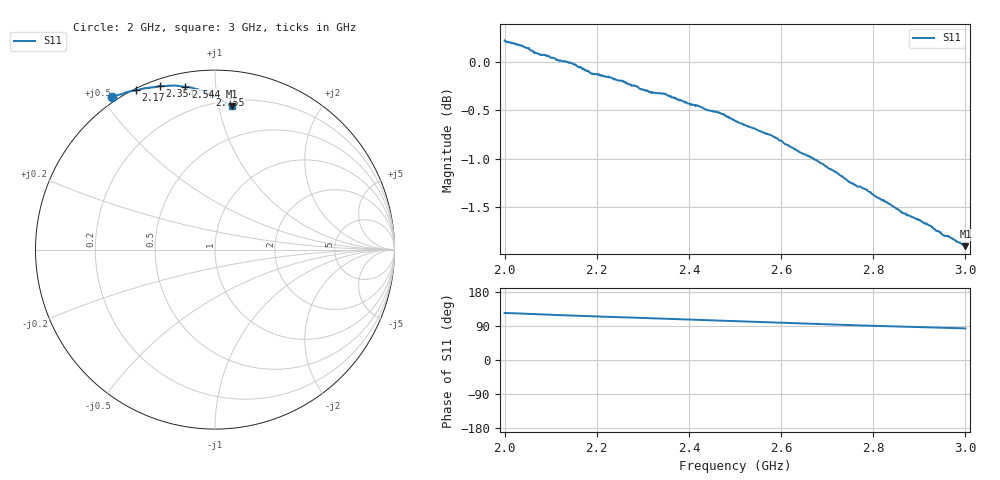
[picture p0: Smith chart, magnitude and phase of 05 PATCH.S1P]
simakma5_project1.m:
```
close all; clear; clc; addpath(genpath(fullfile([pwd, '\Uni', '\grad', '\NKA', '\project1', '\script'])))
%% Initialization
close all; clear; clc; addpath(genpath(fullfile(pwd, 'Uni', 'grad', 'NKA', 'project1', 'script')));
s = settings;
s.matlab.appearance.figure.GraphicsTheme.TemporaryValue = "light";
% universal constants
c = 299792458;
mu0 = 4*pi*1e-7;
% reference impedance
Z0 = 50;

%% 1 Patch antenna TLM (Transmission Line Model) design
% resonant frequency
f_r = 1.8e9;
lambda0 = c/f_r;
k0 = 2*pi/lambda0;
% copper cladding
t = 35e-6;
sigma = 5.6e7;
% substrate DICLAD
h = 1.5e-3;
epsR = 2.6;
tand = 0.0022;
% computational parameters
fSpan = 1e9;                                    % frequency plots span
Nfpoints = 5e3+1;                               % number of freq. points
f = linspace(f_r-fSpan/2, f_r+fSpan/2, Nfpoints);
NLpoints = 5e3;                                 % number of length points

%% 1.1 Antenna dimensions
W = c/(2*f_r)*sqrt(2/(epsR+1));
epsR_eff = (epsR+1)/2+(epsR-1)/2*(1+12*h/W)^(-1/2);
deltaL = 0.412*h*(((epsR_eff+0.3)*(W/h+0.264))/((epsR_eff-0.258)*(W/h+0.813)));
L_eff = c/(2*f_r*sqrt(epsR_eff));
L = L_eff-2*deltaL;
fprintf('1.1 Antenna dimensions\n----\n')
fprintf('f_r = %.2f GHz\n', f_r*1e-9)
fprintf('W(f=f_r) = %.2f mm\n', W*1e3)
fprintf('L(f=f_r) = %.2f mm\n', L*1e3)

%% 1.2 Input impedance and reflection coefficient frequency dependence
% input impedance and reflection coefficient frequency plot for feed offset of 0 mm
Z_in = impedanceTLM(epsR, h, W, L, 0, f);
figure('Name', 'Edge-fed antenna (zero feed offset) input impedance and reflection coefficient', 'Units', 'normalized', 'Position', [0, 0, 1, 1])
tiledlayout(1,2)
nexttile;
    plot(f*1e-9, real(Z_in))
    hold on
    plot(f*1e-9, imag(Z_in))
    xline(f_r*1e-9, '-.')
    line = yline(Z0, '--', num2str(Z0));
    line.LabelVerticalAlignment = 'bottom';
    hold off
    grid on
    grid minor
    xlim([f(1)*1e-9, f(end)*1e-9])
    xlabel('Frequency [GHz]')
    ylabel('Z_{in} [\Omega]')
    legend('R_{in}', 'X_{in}')
nexttile;
    plot(f*1e-9, 20*log10(abs((Z0-Z_in)./(Z0+Z_in))))
    hold on
    xline(f_r*1e-9, '-.')
    hold off
    grid on
    grid minor
    xlim([f(1)*1e-9, f(end)*1e-9])
    ylim([-30, 0])
    xlabel('Frequency [GHz]')
    ylabel('|\Gamma| [dB]')
set(findall(gcf, '-property', 'FontSize'), 'FontSize', 26)
saveas(gcf, fullfile([pwd, '\Uni', '\grad', '\NKA', '\project1', '\report', '\src', '\edge-fed-antenna']), 'epsc')

%% 1.3 Feed-offset antenna matching
% input impedance for L1 == 0 mm && f == f_r
fprintf('\n1.3 Feed-offset antenna matching\n----\n')
fprintf('Z_in(L1=0,f=f_r) = %.2f%+.2fi Ohm\n', real(Z_in(f==f_r)), imag(Z_in(f==f_r)))

% input impedance and reflection coefficient feed-offset plot for f == f_r
L1 = linspace(0, L, NLpoints);
Z_in = impedanceTLM(epsR, h, W, L, L1, f_r);
figure('Name', 'Input impedance at resonance of an offset-fed antenna', 'Units', 'normalized', 'Position', [0, 0, 1, 1])
plot(L1/L, real(Z_in))
hold on
plot(L1/L, imag(Z_in))
line = yline(Z0, '--', num2str(Z0));
line.LabelVerticalAlignment = 'bottom';
hold off
grid on
grid minor
xlabel('L_1/L [-]')
ylabel('Z_{in} [\Omega]')
legend('R_{in}', 'X_{in}', 'location', 'best')
set(findall(gcf, '-property', 'FontSize'), 'FontSize', 26)
saveas(gcf, fullfile([pwd, '\Uni', '\grad', '\NKA', '\project1', '\report', '\src', '\feed-offset-impedance-plot']), 'epsc')

% find L for which R_in is approx. 50 Ohm at f == f_r
[R_match, L1_matchIdx] = min(abs(real(Z_in)-Z0));
R_match = R_match + Z0;
disp(['L_match = ' num2str(round(L1(L1_matchIdx)*1e3, 2)) ' mm'])
disp(['R_match = ' num2str(round(R_match, 2)) ' Ohm'])

% input impedance and reflection coefficient frequency plot for feed offset of 0 mm
Z_in = impedanceTLM(epsR, h, W, L, L1(L1_matchIdx), f);
fprintf('Z_in(L1=L_match,f=f_r) = %.2f%+.2fi Ohm\n', real(Z_in(f==f_r)), imag(Z_in(f==f_r)))
figure('Name', 'Matched antenna input impedance and reflection coefficient', 'Units', 'normalized', 'Position', [0, 0, 1, 1])
tiledlayout(1,2)
nexttile;
    plot(f*1e-9, real(Z_in))
    hold on
    plot(f*1e-9, imag(Z_in))
    xline(f_r*1e-9, '-.')
    line = yline(Z0, '--', num2str(Z0));
    line.LabelVerticalAlignment = 'bottom';
    hold off
    grid on
    grid minor
    xlim([f(1)*1e-9, f(end)*1e-9])
    xlabel('Frequency [GHz]')
    ylabel('Z_{in} [\Omega]')
    legend('R_{in}', 'X_{in}')
nexttile;
    plot(f*1e-9, 20*log10(abs((Z0-Z_in)./(Z0+Z_in))))
    hold on
    xline(f_r*1e-9, '-.')
    hold off
    grid on
    grid minor
    xlim([f(1)*1e-9, f(end)*1e-9])
    ylim([-30, 0])
    xlabel('Frequency [GHz]')
    ylabel('|\Gamma| [dB]')
set(findall(gcf, '-property', 'FontSize'), 'FontSize', 26)
saveas(gcf, fullfile([pwd, '\Uni', '\grad', '\NKA', '\project1', '\report', '\src', '\matched-antenna']), 'epsc')

%% 1.4 Antenna bandwidth of VSWR < 2
% Q-factor defined as the ratio of energy accumulated in cavity over
% energy lost in materials
Q_d = 1/tand;                                   % dielectric
Q_c = sqrt(pi*f_r*mu0*sigma*t);                 % conductor
Q_r = c*sqrt(epsR)/(4*f_r*h);                   % radiation
Q_t = 1/(1/Q_d+1/Q_c+1/Q_r);                    % total

% analytical formula for bandwidth of VSWR < 2
% BW = (VSWR-1)/(Q_t*sqrt(VSWR))
BW_analytic = 1/(Q_t*sqrt(2))*100;
fprintf('\n1.4 Antenna bandwidth of VSWR < 2\n----\n')
fprintf('Analytically: BW(VSWR<2) = %.2f %%\n', BW_analytic)

% determine BW(VSWR<2) (|Gamma(VSWR=2)| = -9.54 dB) from computed Gamma
[~, fIdx] = min(abs(20*log10(abs((Z0-Z_in./(Z0+Z_in))))+9.54));
BW_numeric = abs(f_r-f(fIdx))/(f_r+f(fIdx))*100;
fprintf('Numerically:  BW(VSWR<2) = %.2f %%\n', BW_numeric)

%% 1.5 Analytical BW of VSWR < 2 for different substrates
hRange = 0.5e-3:0.1e-3:5e-3;
epsRRange = 1:0.1:10;
Q_d = 1/tand;
Q_c = sqrt(pi*f_r*mu0*sigma*t);
Q_r = zeros(length(epsRRange), length(hRange));
for i = 1:length(epsRRange)
    Q_r(i,:) = c*sqrt(epsRRange(i))./(4*f_r*hRange(:));
end
Q_t = 1./(1/Q_d+1/Q_c+1./Q_r);
BW_analytic = 1./(Q_t*sqrt(2))*100;

figure('Name', 'Antenna bandwidth of VSWR < 2', 'Units', 'normalized', 'Position', [0, 0, 1, 1])
tiledlayout(1,2)
nexttile;
    plot(hRange*1e3, BW_analytic(epsRRange==epsR,:))
    hold on
    line = xline(h*1e3, '--', 'h');
    line.LabelVerticalAlignment = 'bottom';
    hold off
    grid on
    grid minor
    axis tight
    xlabel('h [mm]')
    ylabel('BW(VSWR<2) [%]')
    title(['epsR = ' num2str(epsR)])
nexttile;
    plot(epsRRange, BW_analytic(:,hRange==h))
    hold on
    line = xline(epsR, '--', 'epsR');
    line.LabelVerticalAlignment = 'bottom';
    hold off
    grid on
    grid minor
    axis tight
    xlabel('epsR [-]')
    ylabel('BW(VSWR<2) [%]')
    title(['h = ' num2str(h*1e3) ' mm'])
set(findall(gcf, '-property', 'FontSize'), 'FontSize', 26)
saveas(gcf, fullfile([pwd, '\Uni', '\grad', '\NKA', '\project1', '\report', '\src', '\bandwidth-material-dependence']), 'epsc')

%% 1.6 Antenna field patterns
theta = linspace(-pi/2, pi/2, 180);
F_E = sin(k0*h/2.*cos(theta))./(k0*h/2.*cos(theta)).*cos(k0*L_eff/2.*sin(theta));
F_H = cos(theta).*sin(k0*h/2.*cos(theta))./(k0*h/2.*cos(theta)).*sin(k0*W/2.*sin(theta))./(k0*W/2.*sin(theta));

figure('Name', 'Normalized field patterns', 'Units', 'normalized', 'Position', [0, 0, 1, 1])
tiles = tiledlayout(1,2);
    pax = polaraxes(tiles);
    pax.RLim = [-40, 0];
    pax.ThetaLim = [-90, 90];
    pax.ThetaDir = 'clockwise';
    pax.ThetaZeroLocation = 'top';
    pax.RTickLabels = {'-40 dB', '-30 dB','-20 dB','-10 dB','0 dB'};
    pax.Layout.Tile = 1;
    hold on
    polarplot(theta, 10*log10(F_E)/max(F_E))
    hold off
    title('E-plane (azimuthal)')

    pax = polaraxes(tiles);
    pax.RLim = [-40, 0];
    pax.ThetaLim = [-90, 90];
    pax.ThetaDir = 'clockwise';
    pax.ThetaZeroLocation = 'top';
    pax.RTickLabels = {'-40 dB', '-30 dB','-20 dB','-10 dB','0 dB'};
    pax.Layout.Tile = 2;
    hold on
    polarplot(theta, 10*log10(F_H)/max(F_H))
    hold off
    title('H-plane (elevation)')
set(findall(gcf, '-property', 'FontSize'), 'FontSize', 26)
saveas(gcf, fullfile([pwd, '\Uni', '\grad', '\NKA', '\project1', '\report', '\src', '\field-patterns']), 'epsc')

%% 2 Patch antenna measurement
% measurement parameters
f_meas = sparameters(fullfile('data', '01 PATCH.S1P')).Frequencies;
lambda0_meas = c./f_meas;
epsR_meas = 1;
tand = 0;

% measured antenna dimensions
h_meas = 5e-3;
L_meas = 58e-3;
W_meas = 61e-3;

%% Measured vs TLM input impedance and reflection coefficient
% measurement #1
L1_meas = 4e-3;
Gamma_meas = squeeze(sparameters(fullfile('data', '01 PATCH.S1P')).Parameters(1,1,:));
Z_meas = Z0*(1+Gamma_meas)./(1-Gamma_meas);

% model
Z_TLM = impedanceTLM(epsR_meas, h_meas, W_meas, L_meas, L1_meas, f_meas);
Gamma_TLM = (Z_TLM-Z0)./(Z_TLM+Z0);

% plot
figure('Name', 'Measurement 1 input impedance and reflection coefficient', 'Units', 'normalized', 'Position', [0, 0, 1, 1])
tiledlayout(1,2)
nexttile;
    plot(f_meas*1e-9, real(Z_meas))
    hold on
    plot(f_meas*1e-9, imag(Z_meas))
    plot(f_meas*1e-9, real(Z_TLM))
    plot(f_meas*1e-9, imag(Z_TLM))
    line = yline(Z0, '--', num2str(Z0));
    line.LabelVerticalAlignment = 'bottom';
    hold off
    grid on
    grid minor
    xlabel('Frequency [GHz]')
    ylabel('Z_{in} [\Omega]')
    legend('R_{in} (meas.)', 'X_{in} (meas.)', 'R_{in} (TLM)', 'X_{in} (TLM)', 'location', 'best')
nexttile;
    plot(f_meas*1e-9, 20*log10(abs(Gamma_meas)))
    hold on
    plot(f_meas*1e-9, 20*log10(abs(Gamma_TLM)))
    hold off
    grid on
    grid minor
    xlabel('Frequency [GHz]')
    ylabel('|\Gamma| [dB]')
    legend('Measurement', 'TLM', 'location', 'best')
set(findall(gcf, '-property', 'FontSize'), 'FontSize', 26)
saveas(gcf, fullfile([pwd, '\Uni', '\grad', '\NKA', '\project1', '\report', '\src', '\measurement1']), 'epsc')

% measurement #2 (best match)
L1_meas = 16e-3;
Gamma_meas = squeeze(sparameters(fullfile('data', '03 PATCH.S1P')).Parameters(1,1,:));
Z_meas = Z0*(1+Gamma_meas)./(1-Gamma_meas);

% model
Z_TLM = impedanceTLM(epsR_meas, h_meas, W_meas, L_meas, L1_meas, f_meas);
Gamma_TLM = (Z_TLM-Z0)./(Z_TLM+Z0);

% plot
figure('Name', 'Measurement 2 input impedance and reflection coefficient', 'Units', 'normalized', 'Position', [0, 0, 1, 1])
tiledlayout(1,2)
nexttile;
    plot(f_meas*1e-9, real(Z_meas))
    hold on
    plot(f_meas*1e-9, imag(Z_meas))
    plot(f_meas*1e-9, real(Z_TLM))
    plot(f_meas*1e-9, imag(Z_TLM))
    line = yline(Z0, '--', num2str(Z0));
    line.LabelVerticalAlignment = 'bottom';
    hold off
    grid on
    grid minor
    xlabel('Frequency [GHz]')
    ylabel('Z_{in} [\Omega]')
    legend('R_{in} (meas.)', 'X_{in} (meas.)', 'R_{in} (TLM)', 'X_{in} (TLM)', 'location', 'best')
nexttile;
    plot(f_meas*1e-9, 20*log10(abs(Gamma_meas)))
    hold on
    plot(f_meas*1e-9, 20*log10(abs(Gamma_TLM)))
    hold off
    grid on
    grid minor
    xlabel('Frequency [GHz]')
    ylabel('|\Gamma| [dB]')
    legend('Measurement', 'TLM', 'location', 'best')
set(findall(gcf, '-property', 'FontSize'), 'FontSize', 26)
saveas(gcf, fullfile([pwd, '\Uni', '\grad', '\NKA', '\project1', '\report', '\src', '\measurement2']), 'epsc')

% measurement #3
L1_meas = 28e-3;
Gamma_meas = squeeze(sparameters(fullfile('data', '05 PATCH.S1P')).Parameters(1,1,:));
Z_meas = Z0*(1+Gamma_meas)./(1-Gamma_meas);

% model
Z_TLM = impedanceTLM(epsR_meas, h_meas, W_meas, L_meas, L1_meas, f_meas);
Gamma_TLM = (Z_TLM-Z0)./(Z_TLM+Z0);

% plot
figure('Name', 'Measurement 3 input impedance and reflection coefficient', 'Units', 'normalized', 'Position', [0, 0, 1, 1])
tiledlayout(1,2)
nexttile;
    plot(f_meas*1e-9, real(Z_meas))
    hold on
    plot(f_meas*1e-9, imag(Z_meas))
    plot(f_meas*1e-9, real(Z_TLM))
    plot(f_meas*1e-9, imag(Z_TLM))
    line = yline(Z0, '--', num2str(Z0));
    line.LabelVerticalAlignment = 'bottom';
    hold off
    grid on
    grid minor
    xlabel('Frequency [GHz]')
    ylabel('Z_{in} [\Omega]')
    legend('R_{in} (meas.)', 'X_{in} (meas.)', 'R_{in} (TLM)', 'X_{in} (TLM)', 'location', 'best')
nexttile;
    plot(f_meas*1e-9, 20*log10(abs(Gamma_meas)))
    hold on
    plot(f_meas*1e-9, 20*log10(abs(Gamma_TLM)))
    hold off
    grid on
    grid minor
    xlabel('Frequency [GHz]')
    ylabel('|\Gamma| [dB]')
    legend('Measurement', 'TLM', 'location', 'best')
set(findall(gcf, '-property', 'FontSize'), 'FontSize', 26)
saveas(gcf, fullfile([pwd, '\Uni', '\grad', '\NKA', '\project1', '\report', '\src', '\measurement3']), 'epsc')

%% 2.2 Measured and TLM resonant frequencies and BW of VSWR < 2
% find resonant frequency from the measurement data
Gamma = squeeze(sparameters(fullfile('data', '03 PATCH.S1P')).Parameters(1,1,:));
[~, fIdx] = min(abs(Gamma));
f_r = f_meas(fIdx);
fprintf('\n2.2 Measured and TLM resonant frequencies and BW of VSWR < 2\n----\n')
fprintf('(Measurement)\n')
fprintf('Resonant frequency: %.2f\n', f_r*1e-9)

Q_d = 1/tand;                                   % dielectric
Q_c = sqrt(pi*f_r*mu0*sigma*t);            % conductor
Q_r = c*sqrt(epsR)/(4*f_r*h);              % radiation
Q_t = 1/(1/Q_d+1/Q_c+1/Q_r);                    % total

% analytical formula for bandwidth of VSWR < 2
% BW = (VSWR-1)/(Q_t*sqrt(VSWR))
BW_analytic = 1/(Q_t*sqrt(2))*100;
fprintf('Analytically: BW(VSWR<2) = %.2f %%\n', BW_analytic)

% determine BW(VSWR<2) (|Gamma(VSWR=2)| = -9.54 dB) from computed Gamma
[~, fIdx] = min(abs(20*log10(abs(Gamma))+9.54));
BW_numeric = abs(f_r-f_meas(fIdx))/(f_r+f_meas(fIdx))*100;
fprintf('Numerically:  BW(VSWR<2) = %.2f %%\n', BW_numeric)

% find TLM resonant frequency
L1_meas = 16e-3;
Z = impedanceTLM(epsR_meas, h_meas, W_meas, L_meas, L1_meas, f_meas);
Gamma = (Z-Z0)./(Z+Z0);
[~, fIdx] = min(abs(Gamma));
f_r = f_meas(fIdx);
fprintf('\n(TLM)\n')
fprintf('Resonant frequency: %.2f\n', f_r*1e-9)

Q_d = 1/tand;                                   % dielectric
Q_c = sqrt(pi*f_r*mu0*sigma*t);            % conductor
Q_r = c*sqrt(epsR)/(4*f_r*h);              % radiation
Q_t = 1/(1/Q_d+1/Q_c+1/Q_r);                    % total

% analytical formula for bandwidth of VSWR < 2
% BW = (VSWR-1)/(Q_t*sqrt(VSWR))
BW_analytic = 1/(Q_t*sqrt(2))*100;
fprintf('Analytically: BW(VSWR<2) = %.2f %%\n', BW_analytic)

% determine BW(VSWR<2) (|Gamma(VSWR=2)| = -9.54 dB) from computed Gamma
[~, fIdx] = min(abs(20*log10(abs(Gamma))+9.54));
BW_numeric = abs(f_r-f_meas(fIdx))/(f_r+f_meas(fIdx))*100;
fprintf('Numerically:  BW(VSWR<2) = %.2f %%\n', BW_numeric)

%% Functions
% Calculation of input impedance using the Transmission Line Model
function Z_in = impedanceTLM(epsR, h, W, L, feedOffset, f)
    % universal quantities
    c = 299792458;
    lambda0 = c./f;
    k0 = 2*pi./lambda0;

    % effective permittivity
    epsR_eff = (epsR+1)/2+(epsR-1)/2*(1+12*h./W).^(-1/2);

    % radiating slot admittance Y_s = G + iB
    G = W./(120*lambda0).*(1-(k0*h).^2/24);             % for h/lambda0 < 1/10
    B = W./(120*lambda0).*(1-0.636*log(k0*h));          % for h/lambda0 < 1/10
    Y_s = G + 1i*B;
    Z_s = 1./Y_s;
    
    % characteristic impedance Z_c of a microstrip
    if W/h <= 1
        Z_c = 60/sqrt(epsR_eff)*log(8*h/W+W/(4*h));
    else
        Z_c = 120*pi./(sqrt(epsR_eff).*(W/h+1.393+0.667*log(W/h+1.444)));
    end

    % input impedance Z_in as a function of:
    % L ... position of the feeding point from the edge of the antenna,
    % f ... operating frequency
    beta = 2*pi*sqrt(epsR_eff)./lambda0;
    Z1 = Z_c.*(Z_s+1i*Z_c.*tan(beta*feedOffset))./(Z_c+1i*Z_s.*tan(beta*feedOffset));
    Z2 = Z_c.*(Z_s+1i*Z_c.*tan(beta*(L-feedOffset)))./(Z_c+1i*Z_s.*tan(beta*(L-feedOffset)));
    Z_in = 1./(1./Z1+1./Z2);
end
```
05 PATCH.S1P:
!Agilent Technologies,E5071C,MY46105125,A.08.12
!Date: Tue Sep 16 09:42:05 2014
!Data & Calibration Information:
!Freq	S11:SOLT1(ON)
# Hz S RI R 50
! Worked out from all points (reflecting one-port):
!   801 points, 2 GHz to 3 GHz, reference 50 ohm
!   lowest |S11| = -1.9 dB at 3 GHz (marker M1), VSWR 9.17, Z = 12.1 + j54.6 ohm
!   phase of S11 starts at 124 deg and turns -41 deg over the sweep
!   S11 on the Smith chart (normalised r, x): 2 GHz: -0.02, +0.53; 2.17 GHz: 0.01, +0.62; 2.354 GHz: 0.03, +0.72; 2.544 GHz: 0.07, +0.83; 2.755 GHz: 0.14, +0.96; 3 GHz: 0.24, +1.09
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2e9  -0.5745 0.8495
2.04e9  -0.5465 0.8591
2.10625e9  -0.4867 0.8784
2.17e9  -0.4414 0.8874
2.21625e9  -0.4029 0.8966
2.27375e9  -0.3655 0.9013
2.33375e9  -0.3199 0.9087
2.35375e9  -0.3058 0.9109
2.4625e9  -0.2258 0.9145
2.54375e9  -0.1653 0.9087
2.6675e9  -0.0801 0.8885
2.755e9  -0.0281 0.8646
2.87375e9  0.0336 0.8326
3e9  0.0922 0.798
